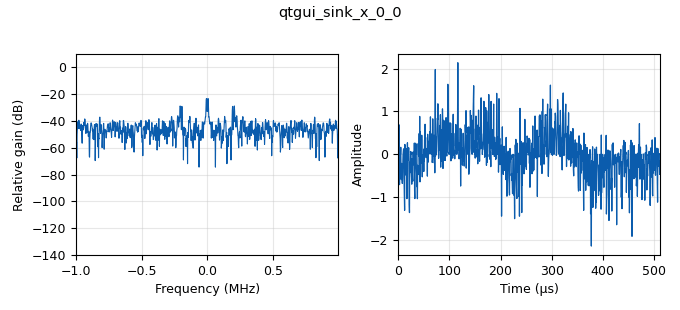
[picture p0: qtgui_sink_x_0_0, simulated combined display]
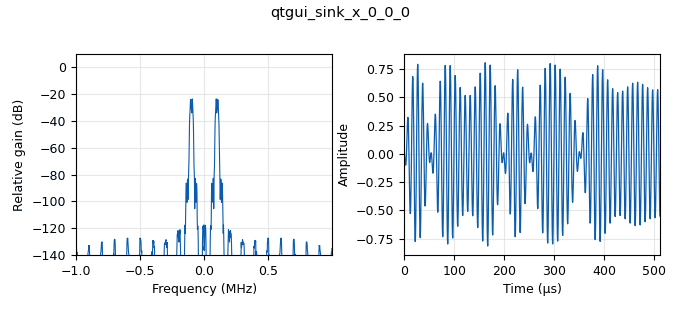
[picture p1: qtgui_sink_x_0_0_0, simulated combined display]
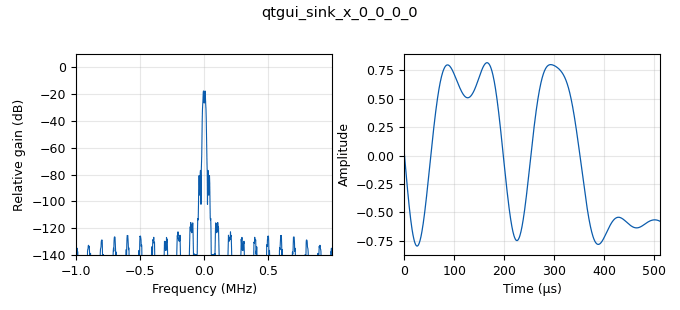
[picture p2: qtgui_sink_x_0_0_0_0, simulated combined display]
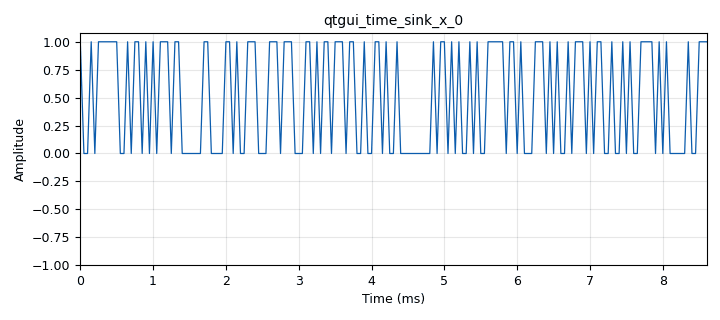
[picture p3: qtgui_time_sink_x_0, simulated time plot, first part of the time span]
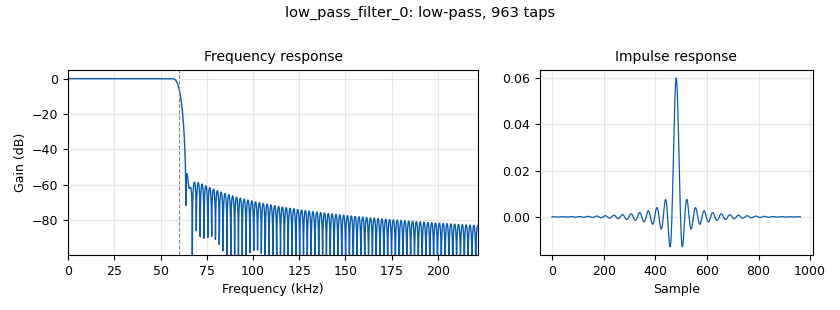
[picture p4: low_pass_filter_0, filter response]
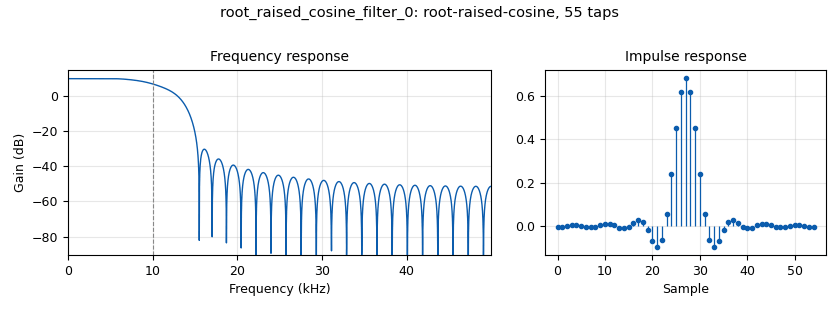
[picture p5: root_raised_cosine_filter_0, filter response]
options:
  parameters:
    author: rohan
    generate_options: qt_gui
    id: part2
    output_language: python
    title: Not titled yet
  states: {}

blocks:
- name: m
  id: variable_qtgui_range
  parameters:
    start: '0'
    step: '0.01'
    stop: '1'
    value: '0.5'
  states: {}
- name: samp_rate
  id: variable
  parameters:
    value: symb_rate*sps
  states: {}
- name: sps
  id: variable
  parameters:
    value: '5'
  states: {}
- name: symb_rate
  id: variable
  parameters:
    value: 20e3
  states: {}
- name: analog_noise_source_x_0
  id: analog_noise_source_x
  parameters:
    amp: m
    noise_type: analog.GR_GAUSSIAN
    seed: '0'
    type: float
  states: {}
- name: analog_random_source_x_0
  id: analog_random_source_x
  parameters:
    max: '2'
    min: '0'
    num_samps: '1000'
    repeat: 'True'
    type: byte
  states: {}
- name: analog_sig_source_x_0
  id: analog_sig_source_x
  parameters:
    amp: '1'
    freq: 100e3
    offset: '0'
    phase: '0'
    samp_rate: 2e6
    type: complex
    waveform: analog.GR_COS_WAVE
  states: {}
- name: analog_sig_source_x_0_0
  id: analog_sig_source_x
  parameters:
    amp: '1'
    freq: 100e3
    offset: '0'
    phase: '0'
    samp_rate: 2e6
    type: float
    waveform: analog.GR_COS_WAVE
  states: {}
- name: blocks_add_xx_0
  id: blocks_add_xx
  parameters:
    type: float
  states: {}
- name: blocks_complex_to_real_0
  id: blocks_complex_to_real
  parameters: {}
  states: {}
- name: blocks_complex_to_real_0_0
  id: blocks_complex_to_real
  parameters: {}
  states: {}
- name: blocks_multiply_xx_0
  id: blocks_multiply_xx
  parameters:
    type: complex
  states: {}
- name: blocks_multiply_xx_1
  id: blocks_multiply_xx
  parameters:
    type: float
  states: {}
- name: blocks_threshold_ff_0
  id: blocks_threshold_ff
  parameters:
    high: '0.1'
    init: '0'
    low: '-0.1'
  states: {}
- name: digital_chunks_to_symbols_xx_0
  id: digital_chunks_to_symbols_xx
  parameters:
    dimension: '1'
    in_type: byte
    out_type: complex
    symbol_table: '[-1,1]'
  states: {}
- name: fir_filter_xxx_0
  id: fir_filter_xxx
  parameters:
    decim: sps
    taps: '1'
    type: fff
  states: {}
- name: interp_fir_filter_xxx_0
  id: interp_fir_filter_xxx
  parameters:
    interp: sps
    taps: '1'
    type: ccc
  states: {}
- name: low_pass_filter_0
  id: low_pass_filter
  parameters:
    cutoff_freq: 60e3
    gain: '1'
    interp: '1'
    samp_rate: 2e6
    type: interp_fir_filter_fff
    width: '5000'
    win: window.WIN_HAMMING
  states: {}
- name: qtgui_const_sink_x_0
  id: qtgui_const_sink_x
  parameters:
    size: '1024'
    type: complex
  states: {state: disabled}
- name: qtgui_sink_x_0_0
  id: qtgui_sink_x
  parameters:
    bw: 2e6
    fc: '0'
    fftsize: '1024'
    type: float
  states: {}
- name: qtgui_sink_x_0_0_0
  id: qtgui_sink_x
  parameters:
    bw: 2e6
    fc: '0'
    fftsize: '1024'
    type: float
  states: {}
- name: qtgui_sink_x_0_0_0_0
  id: qtgui_sink_x
  parameters:
    bw: 2e6
    fc: '0'
    fftsize: '1024'
    type: float
  states: {}
- name: qtgui_time_sink_x_0
  id: qtgui_time_sink_x
  parameters:
    size: '1024'
    srate: symb_rate
    type: float
  states: {}
- name: rational_resampler_xxx_0
  id: rational_resampler_xxx
  parameters:
    decim: '1'
    interp: '20'
    type: ccc
  states: {}
- name: rational_resampler_xxx_1
  id: rational_resampler_xxx
  parameters:
    decim: '20'
    interp: '1'
    type: fff
  states: {}
- name: root_raised_cosine_filter_0
  id: root_raised_cosine_filter
  parameters:
    alpha: '0.5'
    decim: '1'
    gain: '3'
    ntaps: 11*sps
    samp_rate: samp_rate
    sym_rate: symb_rate
    type: fir_filter_ccf
  states: {}
- name: root_raised_cosine_filter_0_0
  id: root_raised_cosine_filter
  parameters:
    alpha: '0.5'
    gain: '3'
    interp: '1'
    ntaps: 11*sps
    samp_rate: samp_rate
    sym_rate: symb_rate
    type: interp_fir_filter_fff
  states: {}

connections:
- [analog_noise_source_x_0, '0', blocks_add_xx_0, '1']
- [analog_random_source_x_0, '0', digital_chunks_to_symbols_xx_0, '0']
- [analog_sig_source_x_0, '0', blocks_multiply_xx_0, '1']
- [analog_sig_source_x_0_0, '0', blocks_multiply_xx_1, '1']
- [blocks_add_xx_0, '0', blocks_multiply_xx_1, '0']
- [blocks_complex_to_real_0, '0', blocks_add_xx_0, '0']
- [blocks_complex_to_real_0, '0', qtgui_sink_x_0_0_0, '0']
- [blocks_complex_to_real_0_0, '0', qtgui_sink_x_0_0_0_0, '0']
- [blocks_multiply_xx_0, '0', blocks_complex_to_real_0, '0']
- [blocks_multiply_xx_1, '0', low_pass_filter_0, '0']
- [blocks_multiply_xx_1, '0', qtgui_sink_x_0_0, '0']
- [blocks_threshold_ff_0, '0', qtgui_time_sink_x_0, '0']
- [digital_chunks_to_symbols_xx_0, '0', interp_fir_filter_xxx_0, '0']
- [fir_filter_xxx_0, '0', blocks_threshold_ff_0, '0']
- [interp_fir_filter_xxx_0, '0', root_raised_cosine_filter_0, '0']
- [low_pass_filter_0, '0', rational_resampler_xxx_1, '0']
- [rational_resampler_xxx_0, '0', blocks_complex_to_real_0_0, '0']
- [rational_resampler_xxx_0, '0', blocks_multiply_xx_0, '0']
- [rational_resampler_xxx_1, '0', root_raised_cosine_filter_0_0, '0']
- [root_raised_cosine_filter_0, '0', rational_resampler_xxx_0, '0']
- [root_raised_cosine_filter_0_0, '0', fir_filter_xxx_0, '0']

metadata:
  file_format: 1
